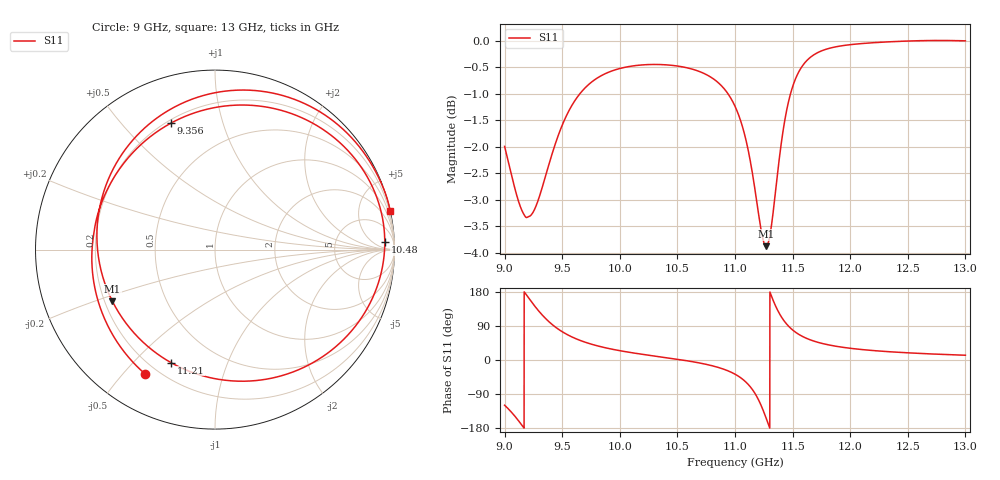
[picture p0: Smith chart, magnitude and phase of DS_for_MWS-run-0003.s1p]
! TOUCHSTONE file generated by CST DESIGN STUDIO
! Date and time: Tue Feb  4 18:32:26 2025
! Project name: C:\Work\MatlabApps\UnitCellOptimizationMatlab\CST\unitcell.cst
! Tree item: Tasks\Sweep1\SPara1\S-Parameters
! Header version: 2024
! Port assignment regex: !\s*Touchstone port\s*([0-9]+)\s*=\s*(CST MWS port|CST DES external port|CST DES block port)\s*(.+)\s* \(\"(.*)\"\)(\s*mode\s*([0-9]+))?.*
! Touchstone port assignment:
! Touchstone port 1 = CST DES external port 1 ("")
# GHz S MA R 50
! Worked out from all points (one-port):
!   4001 points, 9 GHz to 13 GHz, reference 50 ohm
!   lowest |S11| = -3.9 dB at 11.27 GHz (marker M1), VSWR 4.56, Z = 11.6 - j11.3 ohm
!   |S11| at or under -10 dB: nowhere
!   S11 on the Smith chart (normalised r, x): 9 GHz: 0.15, -0.58; 9.356 GHz: 0.22, +0.69; 10.48 GHz: 22, +18; 11.21 GHz: 0.28, -0.65; 13 GHz: 0.02, +9.07
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9  0.7948 -119.3
9.101  0.7174 -152.7
9.176  0.6833 177.3
9.273  0.6984 137.9
9.356  0.7457 109.4
9.423  0.7887 91.1
9.5  0.8322 74.7
9.601  0.8748 58.5
9.712  0.9055 45.6
10  0.9413 24.6
10.484  0.9469 2.6
10.5  0.9463 1.9
10.814  0.9201 -16.1
11  0.8672 -37.4
11.11  0.7926 -62.9
11.168  0.7301 -85.5
11.214  0.6757 -111.3
11.27  0.64 -153.2
11.324  0.6789 162.8
11.388  0.7795 121.2
11.438  0.848 98.6
11.5  0.9046 79.3
11.584  0.9462 62.5
11.687  0.9701 49.6
11.82  0.9835 39.4
12  0.9913 30.9
12.5  0.9991 19.0
13  0.9995 12.6
